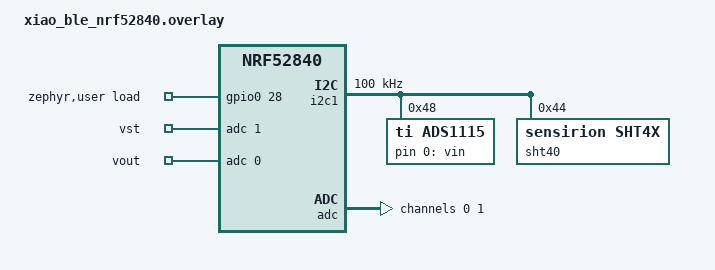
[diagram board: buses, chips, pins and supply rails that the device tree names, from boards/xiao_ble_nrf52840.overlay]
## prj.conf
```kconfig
CONFIG_ADC=y
CONFIG_GPIO=y
CONFIG_I2C=y
CONFIG_ADC_ADS1X1X=y
CONFIG_SENSOR=y
CONFIG_SHT4X=y

# Phone-facing Nordic UART Service for USB-powered integration tests.
CONFIG_BT=y
CONFIG_BT_PERIPHERAL=y
CONFIG_BT_DEVICE_NAME="TEG_XIAO"
CONFIG_BT_MAX_CONN=1
CONFIG_BT_NUS=y
CONFIG_BT_L2CAP_TX_MTU=247
CONFIG_BT_BUF_ACL_RX_SIZE=251
CONFIG_BT_BUF_ACL_TX_SIZE=251
CONFIG_MAIN_STACK_SIZE=2048
CONFIG_SYSTEM_WORKQUEUE_STACK_SIZE=2048

# Send printf output to the XIAO USB-C port.
CONFIG_USB_DEVICE_STACK_NEXT=y
CONFIG_CDC_ACM_SERIAL_INITIALIZE_AT_BOOT=y
CONFIG_SERIAL=y
CONFIG_CONSOLE=y
CONFIG_UART_CONSOLE=y
CONFIG_STDOUT_CONSOLE=y
CONFIG_UART_LINE_CTRL=y
CONFIG_BOOT_BANNER=n

# Floating-point voltage values in CSV output.
CONFIG_PICOLIBC=y
CONFIG_PICOLIBC_IO_FLOAT=y
```

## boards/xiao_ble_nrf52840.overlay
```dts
#include <zephyr/dt-bindings/adc/adc.h>
#include <zephyr/dt-bindings/adc/nrf-saadc.h>
#include <zephyr/dt-bindings/i2c/i2c.h>
#include <zephyr/dt-bindings/gpio/gpio.h>

/ {
	zephyr,user {
		io-channels = <&adc 1>, <&adc 0>, <&ads1115 0>;
		io-channel-names = "vst", "vout", "vin";
		/* XIAO D2 = P0.28 drives the capacitor load MOSFET gate (high = load on). */
		load-gpios = <&gpio0 28 GPIO_ACTIVE_HIGH>;
	};
};

&i2c1 {
	status = "okay";
	clock-frequency = <I2C_BITRATE_STANDARD>;

	ads1115: adc@48 {
		compatible = "ti,ads1115";
		reg = <0x48>;
		#io-channel-cells = <1>;
		#address-cells = <1>;
		#size-cells = <0>;

		channel@0 {
			reg = <0>;
			zephyr,gain = "ADC_GAIN_8";
			zephyr,reference = "ADC_REF_INTERNAL";
			zephyr,acquisition-time = <ADC_ACQ_TIME_DEFAULT>;
			zephyr,input-positive = <0>;
			/* Single-ended ADS1115 uses 15 positive bits, +/-256 mV range. */
			zephyr,resolution = <15>;
		};
	};

	sht40: sht40@44 {
		compatible = "sensirion,sht4x";
		reg = <0x44>;
		repeatability = <2>;
	};
};

&adc {
	status = "okay";
	#address-cells = <1>;
	#size-cells = <0>;

	channel@0 {
		reg = <0>;
		zephyr,gain = "ADC_GAIN_1_6";
		zephyr,reference = "ADC_REF_INTERNAL";
		/* Longer acquisition for the high-resistance voltage divider. */
		zephyr,acquisition-time = <ADC_ACQ_TIME(ADC_ACQ_TIME_MICROSECONDS, 40)>;
		/* XIAO D0/A0 = P0.02 = SAADC AIN0, not GPIO P0.00. */
		zephyr,input-positive = <NRF_SAADC_AIN0>;
		zephyr,resolution = <12>;
	};

	channel@1 {
		reg = <1>;
		zephyr,gain = "ADC_GAIN_1_6";
		zephyr,reference = "ADC_REF_INTERNAL";
		zephyr,acquisition-time = <ADC_ACQ_TIME(ADC_ACQ_TIME_MICROSECONDS, 40)>;
		/* XIAO D1/A1 = P0.03 = SAADC AIN1. */
		zephyr,input-positive = <NRF_SAADC_AIN1>;
		zephyr,resolution = <12>;
	};
};
```

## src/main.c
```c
/* SPDX-License-Identifier: Apache-2.0 */

/*
 * TEG energy scheduler for the XIAO nRF52840.
 *
 * WHAT THIS PROGRAM DOES, ONE CYCLE AT A TIME
 *   1. Read the capacitor voltage (VSTORE, pin D1) and turn it into energy in joules.
 *   2. Ask the controller how long to wait before the next cycle.
 *   3. Read the other sensors: VOUT (D0), TEG voltage VIN (ADS1115), temperature and
 *      humidity (SHT40).
 *   4. "Spend" one event's worth of energy from the capacitor: switch the MOSFET on for
 *      a short pulse so current flows from the capacitor through the load resistor.
 *   5. Send one CSV row over BLE (and print it on USB if a terminal is open).
 *   6. Sleep until the next cycle is due.
 *
 * WHY THE MOSFET PULSE EXISTS
 *   The nRF itself runs from the LiPo, because the capacitor cannot start it. Without the
 *   pulse, the TEG would only ever fill the capacitor and nothing would empty it, so the
 *   wait interval would have no effect on the energy we measure. The pulse makes each
 *   sensing event take a fixed amount of energy out of the SAME capacitor the TEG charges.
 *   Then:  energy in = TEG harvest,  energy out = pulses,  control input = how often
 *   we pulse. That is a real feedback loop.
 *
 * THE CONTROL IDEA
 *   The capacitor energy changes as   dE/dt = P_harvest - E_pulse * f
 *   where f is the event rate (events per second, f = 1 / interval).
 *   - More energy stored than the target -> raise f  (send more often).
 *   - Less energy stored than the target -> lower f  (send less often).
 *   The PID calculates f; the interval printed in the CSV is just 1000 / f milliseconds.
 *   We control the rate rather than the interval because the energy used per second is
 *   proportional to the rate, so the same gains behave the same at 2 s or at 20 s.
 */

#include <stdio.h>
#include <stdlib.h>
#include <string.h>
#include <errno.h>
#include <math.h>
#include <zephyr/drivers/adc.h>
#include <zephyr/drivers/gpio.h>
#include <zephyr/drivers/sensor.h>
#include <zephyr/drivers/uart.h>
#include <zephyr/kernel.h>

#include "ble_output.h"

/* ------------------------------------------------------------------------------------
 * Measurement settings (unchanged from the calibrated version)
 * ------------------------------------------------------------------------------------ */

/* Both voltages go through a divider before the ADC pin:
 *   source -- 1 Mohm -- ADC pin -- 330 kohm -- GND
 * D0/A0 measures VOUT; D1/A1 measures VSTORE (the capacitor). */
static const double R_TOP_OHM = 1000000.0;
static const double R_BOTTOM_OHM = 330000.0;

/* Nov 22, 2026 VSTORE calibration: capacitor volts = averaged D1 count * gain + offset.
 * Checked against the multimeter from 0.608 to 5.180 V. */
static const double VST_CAL_GAIN_V_PER_COUNT = 0.003490639465;
static const double VST_CAL_OFFSET_V = 0.047304725;

/* VOUT one-point calibration from the 5 V recording (IMG_5676).
 * Set both to zero to use the plain divider ratio instead. */
static const double VOUT_CAL_VOLTAGE = 5.09;
static const double VOUT_CAL_ADC = 1411.3;

/* Each D0/D1 reading throws away one conversion, then averages 20, 5 ms apart. */
#define SAMPLES 20
#define SAMPLE_SPACING_MS 5

/* ------------------------------------------------------------------------------------
 * Experiment settings: these are the numbers you change between runs
 * ------------------------------------------------------------------------------------ */

/* 1 = the PID picks the interval.  0 = baseline: fixed BASELINE_INTERVAL_MS.
 * In both modes the MOSFET pulse still happens every cycle if LOAD_ENABLED is 1,
 * so a 1 s baseline shows how fast the capacitor drains at the fastest rate. */
#define PID_ENABLED 1
#define BASELINE_INTERVAL_MS 1000

/* 1 = pulse the load every cycle.  0 = never pulse (the capacitor only charges). */
#define LOAD_ENABLED 1

/* Load hardware: XIAO D2 drives the MOSFET; the resistor sits between VSTORE and the
 * MOSFET. One pulse removes about  V^2 / R * pulse_time  joules from the capacitor.
 * Example: 4.6 V, 1000 ohm, 20 ms -> about 0.42 mJ per event. */
#define LOAD_RESISTOR_OHM 1000.0
#define LOAD_PULSE_MS 20

/* Capacitor and target.
 * The target is fixed once, at the first valid reading:
 *     target = ENERGY_TARGET_FRACTION * (capacitor energy at the first reading)
 * and then stays the same for every row of the run. Start each run with the capacitor
 * charged close to full (about 5.2 V) so 80% of it is a sensible operating point. */
#define CAPACITANCE_F 0.1
#define ENERGY_TARGET_FRACTION 0.8

/* PID gains. The controller output is an event RATE in Hz (events per second).
 *   error = stored energy - target            (joules; positive = surplus)
 *   rate  = RATE_BIAS_HZ + Kp*error + Ki*(sum of error*dt) + Kd*(d error / dt)
 * Units: Kp in Hz per J, Ki in Hz per (J*s), Kd in Hz per W.
 *
 * Where the starting values come from: one event removes about E_pulse = 0.42 mJ.
 * With P only, the error shrinks with a time constant of  1 / (E_pulse * Kp).
 * Kp = 40 gives about 60 s, slow enough to ignore ADC noise and fast enough to watch.
 * Ki = 0.15 removes the steady offset that P alone leaves when RATE_BIAS_HZ is not
 * exactly the balance rate. Keep Kd = 0 at first: the energy slope is noisy. */
#define PID_KP 40.0
#define PID_KI 0.15
#define PID_KD 0.0

/* The rate the controller uses when the error is zero and the integral is empty.
 * 0.2 Hz = one event every 5 s. */
#define RATE_BIAS_HZ 0.2

/* Fastest and slowest allowed cycle. The controller is clamped to this range. */
#define EVENT_INTERVAL_MIN_S 1.0
#define EVENT_INTERVAL_MAX_S 30.0

/* The energy slope (dE/dt) is smoothed with this time constant before it is logged
 * or used for the D term. A longer value is smoother but reacts later. */
#define PID_SLOPE_FILTER_S 30.0

/* ------------------------------------------------------------------------------------
 * CSV layout
 * ------------------------------------------------------------------------------------ */

static const char measurement_columns[] =
	"time_s,vst_adc_raw,d1_voltage_V,vst_voltage_V,"
	"vout_adc_raw,d0_voltage_V,vout_voltage_V,vin_adc_raw,vin_mV,"
	"temperature_C,humidity_pct,vst_status,vout_status,ads_status,sht_status";
static const char controller_columns[] =
	"cap_energy_J,cap_target_J,cap_error_J,cap_net_power_uW,event_interval_ms,ble_sent,"
	"battery_start_mWh,load_pulse_uJ,pid_p_Hz,pid_i_Hz,pid_d_Hz";

/* ------------------------------------------------------------------------------------
 * Hardware handles. Zephyr builds these from boards/xiao_ble_nrf52840.overlay.
 * ------------------------------------------------------------------------------------ */

static const struct adc_dt_spec vst_input =
	ADC_DT_SPEC_GET_BY_NAME(DT_PATH(zephyr_user), vst);
static const struct adc_dt_spec vout_input =
	ADC_DT_SPEC_GET_BY_NAME(DT_PATH(zephyr_user), vout);
static const struct adc_dt_spec vin_input =
	ADC_DT_SPEC_GET_BY_NAME(DT_PATH(zephyr_user), vin);
static const struct device *const sht40 = DEVICE_DT_GET(DT_NODELABEL(sht40));
/* The MOSFET gate pin (XIAO D2). "load-gpios" in the overlay. */
static const struct gpio_dt_spec load_switch =
	GPIO_DT_SPEC_GET(DT_PATH(zephyr_user), load_gpios);

/* ------------------------------------------------------------------------------------
 * Optional run note: starting battery energy, typed over USB as "battery_mwh 1850".
 * It is only written into the CSV for your records; the controller does not use it.
 * ------------------------------------------------------------------------------------ */

struct battery_run_input {
	double start_mwh;
	char line[48];
	size_t length;
	bool discard;
};

static void read_battery_run_input(const struct device *console, struct battery_run_input *input)
{
	static const char prefix[] = "battery_mwh ";
	unsigned char byte;

	/* Only look at characters that have already arrived, so typing never pauses
	 * the measurement loop. Characters are collected until Enter is pressed. */
	for (size_t i = 0; i < sizeof(input->line) && uart_poll_in(console, &byte) == 0; i++) {
		if (byte != '\r' && byte != '\n') {
			if (!input->discard && byte != '\0' && input->length < sizeof(input->line) - 1) {
				input->line[input->length++] = byte;
			} else {
				input->discard = true; /* Line too long: ignore it. */
			}
			continue;
		}
		if (input->length > 0 || input->discard) {
			input->line[input->length] = '\0';
			double energy_mwh = NAN;
			if (!input->discard && strncmp(input->line, prefix, sizeof(prefix) - 1) == 0) {
				const char *value = input->line + sizeof(prefix) - 1;
				char *end;
				double parsed = strtod(value, &end);

				if (end != value && *end == '\0') {
					energy_mwh = parsed;
				}
			}
			if (isfinite(energy_mwh) && energy_mwh >= 0.0) {
				input->start_mwh = energy_mwh;
				printf("# battery_start_mWh=%.9g\n", input->start_mwh);
			} else {
				printf("# Use battery_mwh followed by a nonnegative energy in mWh.\n");
			}
		}
		input->length = 0;
		input->discard = false;
	}
}

/* ------------------------------------------------------------------------------------
 * The controller
 * ------------------------------------------------------------------------------------ */

/* Everything the controller has to remember from one cycle to the next. */
struct energy_pid {
	double target_j;          /* Fixed after the first valid reading. NAN until then. */
	double previous_energy_j; /* Last cycle's energy, to compute the slope. */
	int64_t previous_ms;      /* Last cycle's time stamp. */
	bool has_previous;        /* False on the first cycle and after a failed reading. */
	double net_power_w;       /* Smoothed dE/dt: harvest minus pulses minus losses. */
	double integral_hz;       /* The I term, already multiplied by Ki (in Hz). */
	/* The three terms from the latest update, kept only so they can be logged. */
	double p_hz;
	double i_hz;
	double d_hz;
};

/* Run one controller step and return the wait until the next cycle, in milliseconds. */
static int update_event_interval(struct energy_pid *pid, double energy_j, int64_t now_ms)
{
	const double rate_min_hz = 1.0 / EVENT_INTERVAL_MAX_S;
	const double rate_max_hz = 1.0 / EVENT_INTERVAL_MIN_S;

	/* A failed capacitor reading: we do not know the energy, so be cautious and wait
	 * the longest interval. Keep the integral, but do not compute a slope across
	 * the gap. */
	if (!isfinite(energy_j)) {
		pid->has_previous = false;
		pid->net_power_w = NAN;
		pid->p_hz = NAN;
		pid->d_hz = NAN;
		return PID_ENABLED ? (int)(EVENT_INTERVAL_MAX_S * 1000.0) : BASELINE_INTERVAL_MS;
	}

	/* The first valid reading fixes the target for the whole run. */
	if (!isfinite(pid->target_j)) {
		pid->target_j = ENERGY_TARGET_FRACTION * energy_j;
		printf("# Target fixed at %.6f J (%.0f%% of first reading %.6f J).\n",
		       pid->target_j, ENERGY_TARGET_FRACTION * 100.0, energy_j);
	}

	/* Positive error = more energy than the target = we can afford to send faster. */
	double error_j = energy_j - pid->target_j;
	double dt_s = (now_ms - pid->previous_ms) / 1000.0;
	double integral_step_hz = 0.0;

	if (pid->has_previous && dt_s > 0.0) {
		/* Slope of stored energy since the last cycle, in watts (J/s). One reading
		 * is noisy, so blend each new slope into a running average
		 * (a first-order low-pass filter). alpha is how much the new value counts. */
		double slope_w = (energy_j - pid->previous_energy_j) / dt_s;
		double alpha = dt_s / (PID_SLOPE_FILTER_S + dt_s);

		pid->net_power_w = isfinite(pid->net_power_w) ?
			pid->net_power_w + alpha * (slope_w - pid->net_power_w) :
			slope_w;
		/* The I term adds up error x time. */
		integral_step_hz = PID_KI * error_j * dt_s;
	}
	pid->previous_energy_j = energy_j;
	pid->previous_ms = now_ms;
	pid->has_previous = true;

	/* P term: react to how far we are from the target right now. */
	pid->p_hz = PID_KP * error_j;
	/* D term: react to how fast the energy is moving. The target is constant,
	 * so d(error)/dt is the same as dE/dt. Energy rising -> send faster. */
	pid->d_hz = isfinite(pid->net_power_w) ? PID_KD * pid->net_power_w : 0.0;

	double rate_hz = RATE_BIAS_HZ + pid->p_hz + pid->integral_hz + pid->d_hz;
	double candidate_hz = rate_hz + integral_step_hz;

	/* Anti-windup. When the rate is already pinned at the fastest or slowest limit,
	 * do not let the integral keep growing in that same direction; otherwise it
	 * builds up a large "debt" and the controller overshoots badly once the error
	 * changes sign. The integral is always allowed to move back toward the range. */
	if ((candidate_hz <= rate_max_hz || integral_step_hz < 0.0) &&
	    (candidate_hz >= rate_min_hz || integral_step_hz > 0.0)) {
		pid->integral_hz += integral_step_hz;
		rate_hz = candidate_hz;
	}
	pid->i_hz = pid->integral_hz;

	if (!PID_ENABLED) {
		return BASELINE_INTERVAL_MS;
	}
	rate_hz = fmin(fmax(rate_hz, rate_min_hz), rate_max_hz);
	return (int)(1000.0 / rate_hz + 0.5);
}

/* ------------------------------------------------------------------------------------
 * The event "cost": one pulse through the load resistor
 * ------------------------------------------------------------------------------------ */

/* Switch the MOSFET on for LOAD_PULSE_MS and return an estimate of the energy removed
 * from the capacitor in microjoules (V^2 / R * t). The voltage barely changes during
 * one pulse (about 1 mV), so the reading from the start of the cycle is used. */
static double pulse_load(bool load_ready, double vst_voltage)
{
	if (!LOAD_ENABLED || !load_ready || !isfinite(vst_voltage)) {
		return NAN;
	}
	gpio_pin_set_dt(&load_switch, 1);
	k_msleep(LOAD_PULSE_MS);
	gpio_pin_set_dt(&load_switch, 0);
	return vst_voltage * vst_voltage / LOAD_RESISTOR_OHM * (LOAD_PULSE_MS / 1000.0) * 1e6;
}

/* ------------------------------------------------------------------------------------
 * Sensor reads (unchanged logic)
 * ------------------------------------------------------------------------------------ */

/* One ADS1115 reading of the TEG voltage. Returns 0 on success, or a negative error
 * code. On success writes the raw count and the voltage in mV. */
static int read_vin(double *raw, double *millivolts)
{
	int16_t sample;
	struct adc_sequence sequence = {
		.buffer = &sample,
		.buffer_size = sizeof(sample),
	};
	int ret = adc_sequence_init_dt(&vin_input, &sequence);

	if (ret < 0) {
		return ret;
	}
	ret = adc_read_dt(&vin_input, &sequence);
	if (ret < 0) {
		return ret;
	}

	/* Zephyr converts the copy to microvolts in place; sample keeps the raw count. */
	int32_t microvolts = sample;

	ret = adc_raw_to_microvolts_dt(&vin_input, &microvolts);
	if (ret < 0) {
		return ret;
	}
	/* The largest possible code means "256 mV or more", so report it as out of range. */
	if (sample == INT16_MAX) {
		return -ERANGE;
	}
	*raw = sample;
	*millivolts = microvolts / 1000.0;
	return 0;
}

/* One SHT40 reading. Zephyr stores each value as whole + fractional parts;
 * sensor_value_to_double turns that into a normal number. */
static int read_environment(double *temperature, double *humidity)
{
	struct sensor_value temp;
	struct sensor_value rh;
	int ret = sensor_sample_fetch(sht40);

	if (ret < 0) {
		return ret;
	}
	ret = sensor_channel_get(sht40, SENSOR_CHAN_AMBIENT_TEMP, &temp);
	if (ret < 0) {
		return ret;
	}
	ret = sensor_channel_get(sht40, SENSOR_CHAN_HUMIDITY, &rh);
	if (ret < 0) {
		return ret;
	}
	*temperature = sensor_value_to_double(&temp);
	*humidity = sensor_value_to_double(&rh);
	return 0;
}

/* Average SAMPLES conversions on one onboard ADC pin. Gives back the average raw
 * count (used by the calibration) and the average pin voltage (for logging). */
static int read_adc(const struct adc_dt_spec *input,
		    double *raw_average, double *pin_voltage)
{
	int16_t sample;
	int32_t raw_total = 0;
	int64_t microvolt_total = 0;
	struct adc_sequence sequence = {
		.buffer = &sample,
		.buffer_size = sizeof(sample),
	};
	int ret = adc_sequence_init_dt(input, &sequence);

	if (ret < 0) {
		return ret;
	}

	/* The first conversion after switching pins can be off, so it is thrown away. */
	ret = adc_read_dt(input, &sequence);
	if (ret < 0) {
		return ret;
	}

	for (int i = 0; i < SAMPLES; i++) {
		ret = adc_read_dt(input, &sequence);
		if (ret < 0) {
			return ret;
		}
		raw_total += sample;
		int32_t microvolts = sample;

		ret = adc_raw_to_microvolts_dt(input, &microvolts);
		if (ret < 0) {
			return ret;
		}
		microvolt_total += microvolts;
		k_msleep(SAMPLE_SPACING_MS);
	}

	*raw_average = (double)raw_total / SAMPLES;
	*pin_voltage = (double)microvolt_total / SAMPLES / 1000000.0;
	return 0;
}

/* VOUT: use the one-point calibration if it is set, otherwise the divider ratio. */
static double source_voltage(double raw, double pin, double cal_v, double cal_adc)
{
	if (cal_v > 0.0 && cal_adc > 0.0) {
		return raw * cal_v / cal_adc;
	}
	return pin * (R_TOP_OHM + R_BOTTOM_OHM) / R_BOTTOM_OHM;
}

/* ------------------------------------------------------------------------------------
 * Main loop
 * ------------------------------------------------------------------------------------ */

int main(void)
{
	const struct device *console = DEVICE_DT_GET(DT_CHOSEN(zephyr_console));
	int ret;

	/* The console and both onboard voltage pins must work, or nothing useful runs. */
	if (!device_is_ready(console) || !adc_is_ready_dt(&vst_input) ||
	    !adc_is_ready_dt(&vout_input)) {
		return 0;
	}

	ret = adc_channel_setup_dt(&vst_input);
	if (ret == 0) {
		ret = adc_channel_setup_dt(&vout_input);
	}
	if (ret < 0) {
		printf("# ADC setup failed: %d\n", ret);
		return 0;
	}

	/* Start the MOSFET pin OFF so the capacitor is never drained by accident. */
	bool load_ready = gpio_is_ready_dt(&load_switch) &&
		gpio_pin_configure_dt(&load_switch, GPIO_OUTPUT_INACTIVE) == 0;

	/* The sensors are optional: if one is missing, the others keep running and
	 * its status column shows the error. */
	int ads_setup_status = adc_is_ready_dt(&vin_input) ?
		adc_channel_setup_dt(&vin_input) : -ENODEV;
	int sht_setup_status = device_is_ready(sht40) ? 0 : -ENODEV;
	int ble_status = ble_output_init();
	struct energy_pid pid = {
		.target_j = NAN,
		.net_power_w = NAN,
		.p_hz = NAN,
		.i_hz = NAN,
		.d_hz = NAN,
	};
	struct battery_run_input battery = {.start_mwh = NAN};
	bool usb_was_open = false;

	printf("# D0=VOUT, D1=VSTORE; each uses 1M/330k.\n");
	printf("# ADS1115 A0: VIN, 0x48, 0..256 mV; SHT40: 0x44. Startup ADS=%d, SHT=%d.\n",
	       ads_setup_status, sht_setup_status);

	while (1) {
		/* Board uptime in ms: the row's time stamp and the start of this cycle. */
		int64_t cycle_start = k_uptime_get();
		uint32_t dtr = 0;

		/* "DTR" is set while a program on the laptop has the USB serial port open
		 * (for example capture_csv.py). When one opens, print the settings and the
		 * column header. On battery with no USB, this is simply skipped. */
		uart_line_ctrl_get(console, UART_LINE_CTRL_DTR, &dtr);
		if (dtr && !usb_was_open) {
			printf("# BLE status=%d; PID=%d; load=%d (ready=%d), %.0f ohm, %d ms\n",
			       ble_status, PID_ENABLED, LOAD_ENABLED, load_ready,
			       LOAD_RESISTOR_OHM, LOAD_PULSE_MS);
			printf("# Kp=%.4g Hz/J, Ki=%.4g Hz/(J*s), Kd=%.4g Hz/W, bias=%.3g Hz, "
			       "interval %.1f-%.1f s, target fraction %.2f\n",
			       PID_KP, PID_KI, PID_KD, RATE_BIAS_HZ,
			       EVENT_INTERVAL_MIN_S, EVENT_INTERVAL_MAX_S, ENERGY_TARGET_FRACTION);
			printf("%s,%s\n", measurement_columns, controller_columns);
		}
		if (dtr) {
			read_battery_run_input(console, &battery);
		} else {
			battery.length = 0;
			battery.discard = false;
		}
		usb_was_open = dtr != 0;

		/* Every value starts as "not a number" (nan) each cycle, so a failed read
		 * shows up as nan in the CSV instead of silently repeating an old value. */
		double vst_raw = NAN, vst_pin_voltage = NAN, vst_voltage = NAN;
		double vout_raw = NAN, vout_pin_voltage = NAN, vout_voltage = NAN;
		double vin_raw = NAN, vin_mv = NAN;
		double temperature = NAN, humidity = NAN;

		/* Step 1: capacitor first, before this cycle's pulse. This reading therefore
		 * includes the harvest and the previous pulse since the last cycle. */
		int vst_status = read_adc(&vst_input, &vst_raw, &vst_pin_voltage);
		if (vst_status == 0) {
			vst_voltage = vst_raw * VST_CAL_GAIN_V_PER_COUNT + VST_CAL_OFFSET_V;
		}
		double cap_energy_j = NAN;
		if (vst_status == 0 && isfinite(vst_voltage) && vst_voltage > 0.0) {
			cap_energy_j = 0.5 * CAPACITANCE_F * vst_voltage * vst_voltage;
		}

		/* Step 2: controller picks the time until the next cycle. */
		int event_interval_ms = update_event_interval(&pid, cap_energy_j, cycle_start);

		/* Step 3: the other measurements. */
		int vout_status = read_adc(&vout_input, &vout_raw, &vout_pin_voltage);
		if (vout_status == 0) {
			vout_voltage = source_voltage(vout_raw, vout_pin_voltage,
				VOUT_CAL_VOLTAGE, VOUT_CAL_ADC);
		}
		int ads_status = ads_setup_status;
		int sht_status = sht_setup_status;

		if (ads_status == 0) {
			ads_status = read_vin(&vin_raw, &vin_mv);
		}
		if (sht_status == 0) {
			sht_status = read_environment(&temperature, &humidity);
		}

		/* Step 4: pay this event's energy out of the capacitor. */
		double load_pulse_uj = pulse_load(load_ready, vst_voltage);

		/* Step 5: build the row and send it. */
		char line[256];
		int length = snprintf(line, sizeof(line),
			"%.3f,%.1f,%.4f,%.4f,%.1f,%.4f,%.4f,%.0f,%.3f,%.2f,%.2f,%d,%d,%d,%d\n",
			cycle_start / 1000.0, vst_raw, vst_pin_voltage, vst_voltage,
			vout_raw, vout_pin_voltage, vout_voltage, vin_raw, vin_mv,
			temperature, humidity, vst_status, vout_status, ads_status, sht_status);

		bool ble_sent = false;
		if (length < 0 || (size_t)length >= sizeof(line)) {
			printf("# CSV formatting failed.\n");
		} else {
			const struct ble_csv_controller controller = {
				.energy_j = cap_energy_j,
				.target_j = pid.target_j,
				.net_power_uw = pid.net_power_w * 1000000.0,
				.interval_ms = event_interval_ms,
				.battery_start_mwh = battery.start_mwh,
				.load_pulse_uj = load_pulse_uj,
				.p_hz = pid.p_hz,
				.i_hz = pid.i_hz,
				.d_hz = pid.d_hz,
			};

			if (ble_status == 0) {
				ret = ble_output_send(line, length, &controller);
				if (ret == 0) {
					ble_sent = true;
				} else if (ret != -ENOTCONN) {
					printf("# BLE send failed: %d\n", ret);
				}
			}
			if (dtr) {
				printf("%.*s,%.6f,%.6f,%.6f,%.2f,%d,%d,%.9g,%.1f,%.5f,%.5f,%.5f\n",
				       length - 1, line, cap_energy_j, pid.target_j,
				       cap_energy_j - pid.target_j, pid.net_power_w * 1000000.0,
				       event_interval_ms, ble_sent, battery.start_mwh,
				       load_pulse_uj, pid.p_hz, pid.i_hz, pid.d_hz);
			}
		}

		/* Step 6: sleep for whatever is left of the interval. The interval runs from
		 * the start of one cycle to the start of the next, so the time spent
		 * measuring and sending is already included. */
		int64_t remaining = event_interval_ms - (k_uptime_get() - cycle_start);
		if (remaining > 0) {
			k_msleep(remaining);
		}
	}
	return 0;
}
```

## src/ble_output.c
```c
/* SPDX-License-Identifier: Apache-2.0 */

#include "ble_output.h"

#include <errno.h>
#include <math.h>
#include <stdio.h>
#include <stdlib.h>
#include <string.h>
#include <bluetooth/services/nus.h>
#include <zephyr/bluetooth/bluetooth.h>
#include <zephyr/kernel.h>
#include <zephyr/sys/atomic.h>

static struct bt_conn *phone;
static bool full_csv;
static double connection_battery_mwh;
static atomic_t notifications_enabled;
K_MUTEX_DEFINE(phone_lock);

static const struct bt_data advertising_data[] = {
	BT_DATA_BYTES(BT_DATA_FLAGS, BT_LE_AD_GENERAL | BT_LE_AD_NO_BREDR),
	BT_DATA_BYTES(BT_DATA_UUID128_ALL, BT_UUID_NUS_VAL),
};
static const struct bt_data scan_response[] = {
	BT_DATA(BT_DATA_NAME_COMPLETE, CONFIG_BT_DEVICE_NAME,
		sizeof(CONFIG_BT_DEVICE_NAME) - 1),
};

static int start_advertising(void)
{
	return bt_le_adv_start(BT_LE_ADV_CONN_FAST_1,
		advertising_data, ARRAY_SIZE(advertising_data),
		scan_response, ARRAY_SIZE(scan_response));
}

static void restart_advertising(struct k_work *work)
{
	ARG_UNUSED(work);
	int ret = start_advertising();

	if (ret < 0) {
		printf("# BLE advertising failed: %d\n", ret);
	}
}

K_WORK_DEFINE(advertising_work, restart_advertising);

static void connected(struct bt_conn *conn, uint8_t error)
{
	if (error) {
		return;
	}
	k_mutex_lock(&phone_lock, K_FOREVER);
	phone = bt_conn_ref(conn);
	full_csv = false;
	connection_battery_mwh = NAN;
	k_mutex_unlock(&phone_lock);
}

static void disconnected(struct bt_conn *conn, uint8_t reason)
{
	ARG_UNUSED(reason);
	atomic_clear(&notifications_enabled);
	k_mutex_lock(&phone_lock, K_FOREVER);
	if (phone == conn) {
		bt_conn_unref(phone);
		phone = NULL;
	}
	k_mutex_unlock(&phone_lock);
}

static void recycled(void)
{
	/* Restart only after the previous connection object has been released. */
	k_work_submit(&advertising_work);
}

BT_CONN_CB_DEFINE(connection_callbacks) = {
	.connected = connected,
	.disconnected = disconnected,
	.recycled = recycled,
};

static void subscription_changed(enum bt_nus_send_status status)
{
	atomic_set(&notifications_enabled, status == BT_NUS_SEND_STATUS_ENABLED);
}

/* A single NUS RX write of "csv" or "csv <mWh>" selects the full CSV. */
static void receive_command(struct bt_conn *conn, const uint8_t *data, uint16_t length)
{
	double battery_mwh = NAN;
	char command[32];

	if (length == 3 && memcmp(data, "csv", 3) == 0) {
		/* Use the firmware's existing battery metadata, if set. */
	} else if (length > 4 && length < sizeof(command) && memcmp(data, "csv ", 4) == 0) {
		memcpy(command, data, length);
		command[length] = '\0';
		char *end;

		battery_mwh = strtod(command + 4, &end);
		if (end != command + length || !isfinite(battery_mwh) || battery_mwh < 0.0) {
			return;
		}
	} else {
		return;
	}

	k_mutex_lock(&phone_lock, K_FOREVER);
	if (phone == conn) {
		full_csv = true;
		connection_battery_mwh = battery_mwh;
	}
	k_mutex_unlock(&phone_lock);
}

int ble_output_init(void)
{
	static struct bt_nus_cb callbacks = {
		.received = receive_command,
		.send_enabled = subscription_changed,
	};
	int ret = bt_nus_init(&callbacks);

	if (ret < 0) {
		return ret;
	}
	ret = bt_enable(NULL);
	if (ret < 0) {
		return ret;
	}
	return start_advertising();
}

int ble_output_send(const char *data, size_t length, const struct ble_csv_controller *controller)
{
	if (!atomic_get(&notifications_enabled)) {
		return -ENOTCONN;
	}
	k_mutex_lock(&phone_lock, K_FOREVER);
	struct bt_conn *conn = phone ? bt_conn_ref(phone) : NULL;
	bool send_full_csv = full_csv;
	double ble_battery_mwh = connection_battery_mwh;
	k_mutex_unlock(&phone_lock);
	if (conn == NULL) {
		return -ENOTCONN;
	}

	if (send_full_csv) {
		/* Only the main sensing loop calls this function. */
		static char full_row[448];
		double battery_mwh = isfinite(ble_battery_mwh) ? ble_battery_mwh :
				     controller->battery_start_mwh;

		/* A complete row received over BLE implies ble_sent=1. */
		int size = snprintf(full_row, sizeof(full_row),
				    "%.*s,%.6f,%.6f,%.6f,%.2f,%d,1,%.9g,%.1f,%.5f,%.5f,%.5f\n",
				    (int)length - 1, data, controller->energy_j, controller->target_j,
				    controller->energy_j - controller->target_j, controller->net_power_uw,
				    controller->interval_ms, battery_mwh, controller->load_pulse_uj,
				    controller->p_hz, controller->i_hz, controller->d_hz);
		if (size < 0 || (size_t)size >= sizeof(full_row)) {
			bt_conn_unref(conn);
			return -EMSGSIZE;
		}
		data = full_row;
		length = size;
	}

	/* Fit notifications to the negotiated MTU, including the 20-byte default. */
	size_t payload_size = bt_nus_get_mtu(conn);
	int ret = 0;

	while (length > 0) {
		size_t chunk_size = MIN(length, payload_size);

		ret = bt_nus_send(conn, (const uint8_t *)data, chunk_size);
		if (ret < 0) {
			break;
		}
		data += chunk_size;
		length -= chunk_size;
	}
	bt_conn_unref(conn);
	return ret;
}
```

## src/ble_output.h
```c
/* SPDX-License-Identifier: Apache-2.0 */

#ifndef TEG_BLE_OUTPUT_H
#define TEG_BLE_OUTPUT_H

#include <stddef.h>

struct ble_csv_controller {
	double energy_j;
	double target_j;
	double net_power_uw;
	int interval_ms;
	double battery_start_mwh;
	double load_pulse_uj; /* Estimated energy of this cycle's load pulse. */
	double p_hz;          /* PID terms, logged to help with tuning. */
	double i_hz;
	double d_hz;
};

int ble_output_init(void);
int ble_output_send(const char *data, size_t length, const struct ble_csv_controller *controller);

#endif
```
